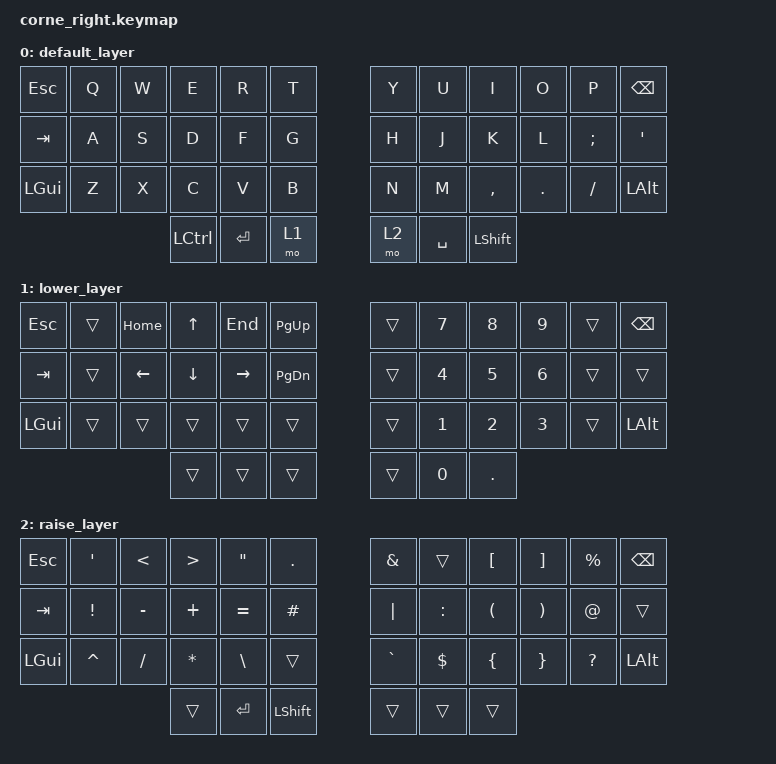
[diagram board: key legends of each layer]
/*
 * Copyright (c) 2020 The ZMK Contributors
 *
 * SPDX-License-Identifier: MIT
 */

#include <behaviors.dtsi>
#include <dt-bindings/zmk/keys.h>
#include <dt-bindings/zmk/bt.h>


/ {
        default_transform {
	col-offset = <6>;
        };
        
        kscan0: kscan {
        compatible = "zmk,kscan-gpio-matrix";
        diode-direction = "col2row";
        col-gpios
                = <&pro_micro 7 GPIO_ACTIVE_HIGH>
                , <&pro_micro 6 GPIO_ACTIVE_HIGH>
                , <&pro_micro 5 GPIO_ACTIVE_HIGH>
                , <&pro_micro 4 GPIO_ACTIVE_HIGH>
                , <&pro_micro 3 GPIO_ACTIVE_HIGH>
                , <&pro_micro 2 GPIO_ACTIVE_HIGH>
                ;
        row-gpios
                = <&pro_micro 20 (GPIO_ACTIVE_HIGH | GPIO_PULL_DOWN)>
                , <&pro_micro 19 (GPIO_ACTIVE_HIGH | GPIO_PULL_DOWN)>
                , <&pro_micro 18 (GPIO_ACTIVE_HIGH | GPIO_PULL_DOWN)>
                , <&pro_micro 21 (GPIO_ACTIVE_HIGH | GPIO_PULL_DOWN)>
                ;
        };

        

        keymap {
                compatible = "zmk,keymap";

                default_layer {
// -----------------------------------------------------------------------------------------`
// | ESC  |  Q  |  W  |  E  |  R  |  T  |____|  Y  |  U   |  I  |  O  |  P  | BSPC |
// | TAB  |  A  |  S  |  D  |  F  |  G  |____|  H  |  J   |  K  |  L  |  ;  |  '   |
// | GUI  |  Z  |  X  |  C  |  V  |  B  |____|  N  |  M   |  ,  |  .  |  /  | ALT  |
//                    | CTRL| RET | LOW |____| RSE | SPC  | SHFT|
                        bindings = <
   &kp ESC  &kp Q &kp W &kp E     &kp R    &kp T   &kp Y &kp U     &kp I     &kp O   &kp P    &kp BSPC
   &kp TAB  &kp A &kp S &kp D     &kp F    &kp G   &kp H &kp J     &kp K     &kp L   &kp SEMI &kp SQT
   &kp LGUI &kp Z &kp X &kp C     &kp V    &kp B   &kp N &kp M     &kp COMMA &kp DOT &kp FSLH &kp LALT
                        &kp LCTRL &kp RET  &mo 1   &mo 2 &kp SPACE &kp LSHFT
                        >;
                };
                lower_layer {
// -----------------------------------------------------------------------------------------
// | ESC  |     | HOME |  UP | END | PGUP |____|     |  7  |  8  |  9  |     | BSPC |
// | TAB  |     | LFT  | DOW | RIG | PGDN |____|     |  4  |  5  |  6  |     |      |
// | GUI  |     |      |     |     |      |____|     |  1  |  2  |  3  |     |  ALT |
//                     |     |     |      |____|     |  0  |  .  |
                        bindings = <
   &kp ESC   &trans &kp HOME &kp UP   &kp END   &kp PG_UP   &trans   &kp N7   &kp N8   &kp N9   &trans  &kp BSPC
   &kp TAB   &trans &kp LEFT &kp DOWN &kp RIGHT &kp PG_DN   &trans   &kp N4   &kp N5   &kp N6   &trans  &trans
   &kp LGUI  &trans &trans   &trans   &trans    &trans      &trans   &kp N1   &kp N2   &kp N3   &trans  &kp LALT
                             &trans   &trans    &trans      &trans   &kp N0   &kp DOT
                        >;
                };

                raise_layer {
// -----------------------------------------------------------------------------------------
// |  ESC |  '  |  <  |  >  |  "  |  .   |____|  &   |     |  [  |  ]  |  %  | BSPC |
// | TAB  |  !  |  -  |  +  |  =  |  #   |____|  |   |  :  |  (  |  )  |  @  |      |
// | GUI  |  ^  |  /  |  *  |  \  |      |____|  `~  |  $  |  {  |  }  |  ?  |  ALT |
//                    |     | ENT | SHFT |____|      |     |     |
                        bindings = <
   &kp ESC   &kp SQT   &kp LT    &kp GT   &kp DQT   &kp DOT     &kp AMPS  &trans    &kp LBKT  &kp RBKT &kp PRCNT &kp BSPC
   &kp TAB   &kp EXCL  &kp MINUS &kp PLUS &kp EQUAL &kp HASH    &kp PIPE  &kp COLON &kp LPAR  &kp RPAR &kp AT    &trans 
   &kp LGUI  &kp CARET &kp FSLH  &kp STAR &kp BSLH  &trans      &kp GRAVE &kp DLLR  &kp LBRC  &kp RBRC &kp QMARK &kp LALT
                                 &trans   &kp RET   &kp LSHFT   &trans    &trans    &trans
                        >;
                };
        };
};
